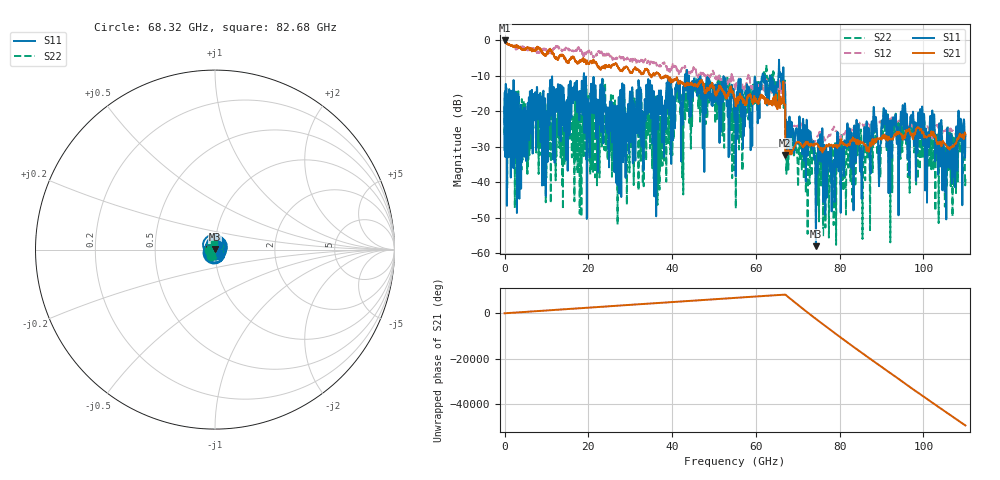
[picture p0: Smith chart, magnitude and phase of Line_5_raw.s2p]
#  HZ  S  RI  R  50.00
! Rohde & Schwarz ZVA67 4Ports - Version 4.11 - 1305.7002k04 SN: 101032
! Date: 2026-02-18 15:36:19
! Measurements: S11 S21 S12 S22
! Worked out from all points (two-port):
!   5500 points, 20 MHz to 110 GHz, reference 50 ohm
!   highest |S21| = -0.07 dB at 20 MHz (marker M1); lowest = -32.3 dB at 67.02 GHz (marker M2)
!   |S21| within 3 dB of the highest: start of sweep to 6.515 GHz; 7.304 GHz to 8.793 GHz (1.489 GHz wide, 18.5 % of centre)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
!   lowest |S11| = -58.0 dB at 74.32 GHz (marker M3), VSWR 1.00, Z = 50 + j0.126 ohm
!   |S11| at or under -10 dB: start of sweep to 18.92 GHz; 18.98 GHz to 43.08 GHz (24.1 GHz wide, 77.7 % of centre); 66.57 GHz to end of sweep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
!   |S22| runs from -57.6 to -6.9 dB; largest |S21 - S12| = 1.9
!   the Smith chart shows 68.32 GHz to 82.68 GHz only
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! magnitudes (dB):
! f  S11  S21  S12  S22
! 20 MHz  -14.9  -0.1  -0.6  -16.2
! 9.86 GHz  -43.9  -4.2  -2.7  -28.6
! 10.86 GHz  -13.2  -2.6  -4.0  -16.0
! 18.36 GHz  -15.7  -5.6  -3.1  -31.2
! 23.5 GHz  -17.8  -7.5  -4.1  -11.1
! 26.6 GHz  -40.1  -6.6  -5.1  -27.4
! 34.56 GHz  -19.9  -9.5  -6.3  -14.4
! 36.68 GHz  -23.3  -9.4  -7.2  -20.8
! 45.58 GHz  -13.7  -12.9  -7.9  -12.1
! 53.2 GHz  -15.5  -15.4  -12.5  -10.2
! 55.02 GHz  -17.0  -16.8  -12.9  -20.8
! 62.08 GHz  -10.0  -16.4  -14.1  -9.5
! 66.02 GHz  -11.6  -17.9  -15.1  -12.2
! 67.02 GHz  -24.6  -32.3  -24.2  -26.6
! 73.34 GHz  -29.2  -29.5  -28.0  -36.7
! 74.32 GHz  -58.0  -29.1  -28.0  -51.4
! 75.4 GHz  -26.4  -30.9  -26.4  -29.0
! 91.68 GHz  -41.2  -27.3  -22.1  -34.4
! 102.1 GHz  -19.8  -26.7  -27.6  -24.7
! 105 GHz  -34.7  -29.0  -25.5  -34.3
! 108.6 GHz  -26.6  -26.5  -25.3  -25.9
! 110 GHz  -26.7  -26.5  -27.3  -38.9
